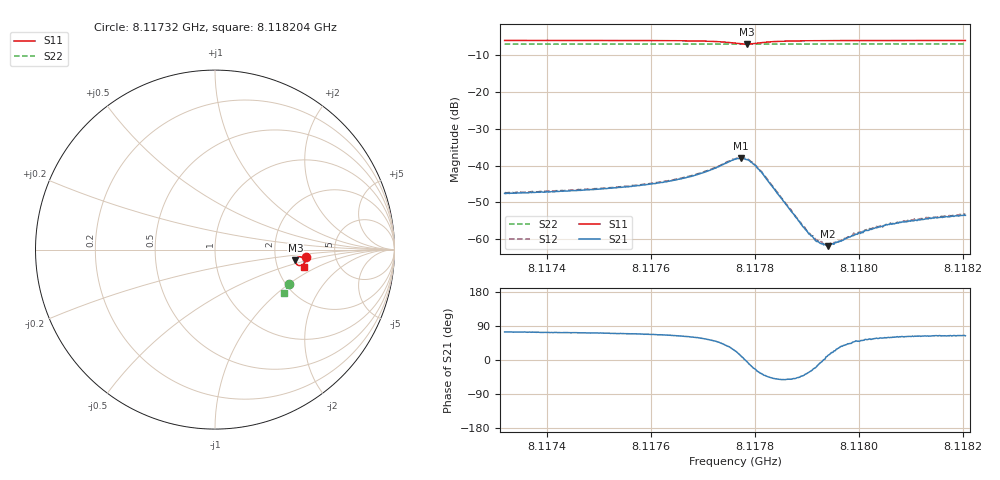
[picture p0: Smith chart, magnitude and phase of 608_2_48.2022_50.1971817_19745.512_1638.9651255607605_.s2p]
#  HZ  S  RI  R  50.00
! Rohde & Schwarz Vector Network Analyzer
! Rohde-Schwarz,ZNB20-2Port,1311601062101988,3.16
! Created: UTC 3/20/2024, 12:03:17 PM
! freq[Hz]  re:S11  im:S11  re:S21  im:S21  re:S12  im:S12  re:S22  im:S22
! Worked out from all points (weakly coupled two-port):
!   401 points, 8.11732 GHz to 8.118204 GHz, reference 50 ohm
!   highest |S21| = -37.97 dB at 8.117773 GHz (marker M1); lowest = -62.0 dB at 8.117941 GHz (marker M2)
!   lowest |S11| = -6.9 dB at 8.117784 GHz (marker M3), VSWR 2.65, Z = 129 - j19.6 ohm
!   |S11| at or under -10 dB: nowhere
!   |S22| runs from -6.9 to -6.8 dB; largest |S21 - S12| = 0.00041
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8.1173195e9  0.5053 -0.0398  0.00115 0.00401  0.00121 0.00407  0.4106 -0.1897
8.1174677e9  0.5035 -0.0528  0.00147 0.00437  0.00148 0.00447  0.4064 -0.1991
8.1175583e9  0.5016 -0.0619  0.00181 0.00482  0.00189 0.00489  0.4039 -0.205
8.1176158e9  0.4994 -0.0687  0.0023 0.00532  0.00237 0.00546  0.402 -0.2087
8.117691e9  0.4921 -0.0808  0.00393 0.00648  0.00405 0.00663  0.3995 -0.2138
8.1177618e9  0.4575 -0.0842  0.0111 0.00506  0.0112 0.00495  0.3956 -0.2177
8.1177729e9  0.4501 -0.0745  0.0124 0.00242  0.0126 0.00255  0.3953 -0.2177
8.1177839e9  0.4483 -0.0603  0.012 -0.000703  0.0124 -0.000704  0.395 -0.2178
8.1177994e9  0.4586 -0.0444  0.00939 -0.00397  0.00959 -0.00415  0.3952 -0.2181
8.1178127e9  0.4713 -0.0399  0.00659 -0.00482  0.00669 -0.00492  0.3955 -0.2189
8.1178856e9  0.4973 -0.0576  0.00121 -0.00123  0.00123 -0.00118  0.3942 -0.2243
8.1179033e9  0.4985 -0.0613  0.000993 -0.000628  0.00101 -0.000674  0.3937 -0.2254
8.11791e9  0.4988 -0.0627  0.000973 -0.000493  0.000984 -0.000496  0.3934 -0.2258
8.117921e9  0.4991 -0.0646  0.000897 -0.00021  0.000915 -0.000251  0.3929 -0.2267
8.1179365e9  0.4994 -0.0672  0.000814 0.000112  0.000845 5.5e-05  0.3925 -0.2278
8.1179409e9  0.4996 -0.0677  0.000776 0.000181  0.000809 0.000174  0.3923 -0.228
8.1179653e9  0.4997 -0.0711  0.000765 0.000556  0.000739 0.000561  0.3915 -0.2297
8.1179874e9  0.4997 -0.074  0.000759 0.000811  0.000798 0.000788  0.3908 -0.2311
8.1180161e9  0.4997 -0.0774  0.000774 0.00105  0.000811 0.0011  0.3898 -0.2328
8.1180581e9  0.4991 -0.0817  0.000806 0.00135  0.000808 0.00138  0.3886 -0.2355
8.1181289e9  0.4983 -0.0886  0.000859 0.00168  0.000858 0.00176  0.3861 -0.24
8.1182041e9  0.4973 -0.0952  0.000922 0.00188  0.000909 0.00196  0.3833 -0.2445
